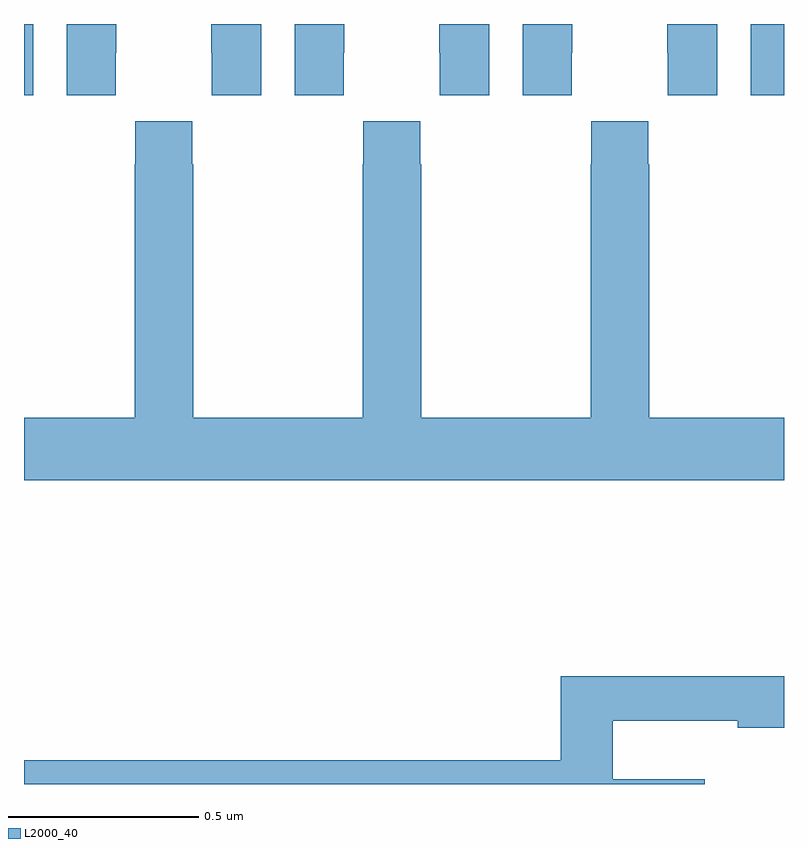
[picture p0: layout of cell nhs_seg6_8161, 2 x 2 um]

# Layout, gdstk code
import gdstk
lib = gdstk.Library(unit=1e-6, precision=1e-09)
def R(c, l, rs):  # rectangles x0, y0, x1, y1
    for r in rs: c.add(gdstk.rectangle(r[:2], r[2:], *l))
def P(c, l, *ps):  # polygons
    for p in ps: c.add(gdstk.Polygon(p, *l))
L2000_40 = (2000, 40)

nhs_seg6_8161 = lib.new_cell('nhs_seg6_8161')
R(nhs_seg6_8161, L2000_40, [(217,984.312,217.024,984.5), (218.912,984.312,219,984.5)])
P(nhs_seg6_8161, L2000_40, [(217.242,984.424),(217.243,984.424),(217.243,984.5),(217.112,984.5),(217.112,984.312),(217.242,984.312)],
  [(217.624,984.5),(217.493,984.5),(217.493,984.424),(217.494,984.424),(217.494,984.312),(217.624,984.312)],
  [(217.842,984.424),(217.843,984.424),(217.843,984.5),(217.712,984.5),(217.712,984.312),(217.842,984.312)],
  [(218.224,984.5),(218.093,984.5),(218.093,984.424),(218.094,984.424),(218.094,984.312),(218.224,984.312)],
  [(218.442,984.424),(218.443,984.424),(218.443,984.5),(218.312,984.5),(218.312,984.312),(218.442,984.312)],
  [(218.824,984.5),(218.693,984.5),(218.693,984.424),(218.694,984.424),(218.694,984.312),(218.824,984.312)],
  [(219,983.464),(218.646,983.464),(218.646,984.131),(218.643,984.131),(218.643,984.244),(218.493,984.244),(218.493,984.131),(218.491,984.131),(218.491,983.464),(218.046,983.464),(218.046,984.131),(218.043,984.131),(218.043,984.244),(217.893,984.244),(217.893,984.131),(217.891,984.131),(217.891,983.464),(217.446,983.464),(217.446,984.131),(217.443,984.131),(217.443,984.244),(217.293,984.244),(217.293,984.131),(217.291,984.131),(217.291,983.464),(217,983.464),(217,983.3),(219,983.3)],
  [(218.791,982.513),(218.549,982.513),(218.549,982.667),(218.878,982.667),(218.878,982.648),(219,982.648),(219,982.784),(218.413,982.784),(218.413,982.562),(217,982.562),(217,982.5),(218.791,982.5)])

lib.write_gds('nhs_seg6_8161.gds')
